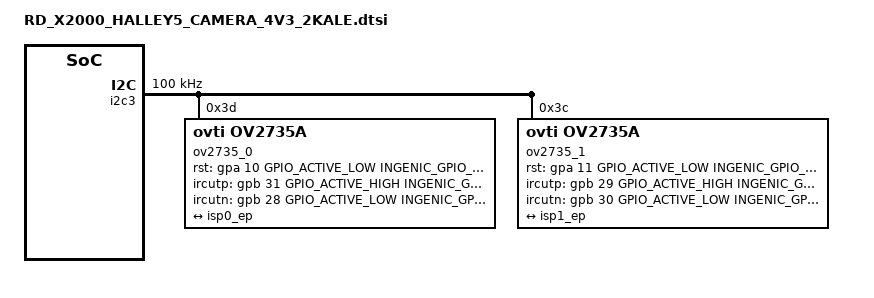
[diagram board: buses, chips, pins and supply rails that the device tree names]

&i2c3 {
	status = "okay";
	clock-frequency = <100000>;
	timeout = <1000>;
	pinctrl-names = "default";
	pinctrl-0 = <&i2c3_pa>, <&cim_vic_mclk_pe>;

	/*RD_X2000_HALLEY5_CAMERA_V4.2 DVP interface*/
	ov2735_0:ov2735@3d {
		status = "ok";
		compatible = "ovti,ov2735a";
		reg = <0x3d>;

		ingenic,rst-gpio = <&gpa 10 GPIO_ACTIVE_LOW INGENIC_GPIO_NOBIAS>;
		ingenic,ircutp-gpio = <&gpb 31 GPIO_ACTIVE_HIGH INGENIC_GPIO_NOBIAS>;
		ingenic,ircutn-gpio = <&gpb 28 GPIO_ACTIVE_LOW INGENIC_GPIO_NOBIAS>;

		port {
			ov2735_ep0:endpoint {
				remote-endpoint = <&isp0_ep>;
			};
		};
	};


	/*RD_X2000_HALLEY5_CAMERA_V4.2 MIPI interface*/
	ov2735_1:ov2735@3c {
		status = "ok";
		compatible = "ovti,ov2735a";
		reg = <0x3c>;

		ingenic,rst-gpio = <&gpa 11 GPIO_ACTIVE_LOW INGENIC_GPIO_NOBIAS>;
		ingenic,ircutp-gpio = <&gpb 29 GPIO_ACTIVE_HIGH INGENIC_GPIO_NOBIAS>;
		ingenic,ircutn-gpio = <&gpb 30 GPIO_ACTIVE_LOW INGENIC_GPIO_NOBIAS>;
		port {
			ov2735_ep1:endpoint {
				remote-endpoint = <&isp1_ep>;
			};
		};
	};
};



&isp0_ep {
	remote-endpoint = <&ov2735_ep0>;
	data-lanes = <0 1>;
	clk-lanes = <2>;
	bus-type = <4>;
};

&isp1_ep {
	remote-endpoint = <&ov2735_ep1>;
	data-lanes = <3 4>;
	clk-lanes = <5>;
	bus-type = <4>;
};
